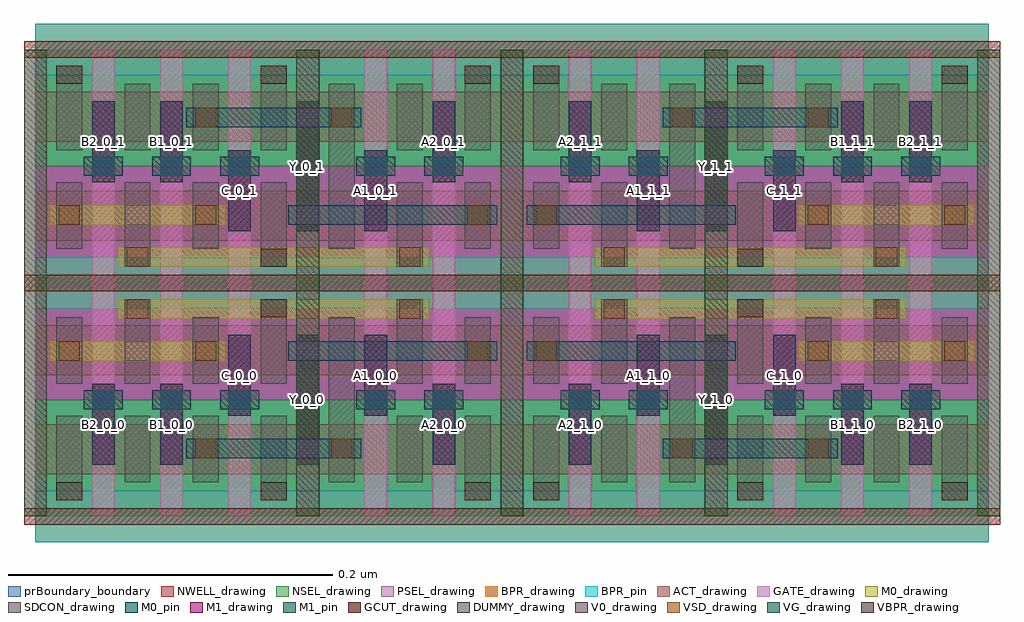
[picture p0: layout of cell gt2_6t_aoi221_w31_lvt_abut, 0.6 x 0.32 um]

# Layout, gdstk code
from math import pi, radians
import gdstk
lib = gdstk.Library(unit=1e-6, precision=5e-10)
def R(c, l, rs):  # rectangles x0, y0, x1, y1
    for r in rs: c.add(gdstk.rectangle(r[:2], r[2:], *l))
def A(c, l, x, y, w, h, nx, ny, dx, dy):  # array of equal rectangles
    R(c, l, [(x+i*dx, y+j*dy, x+i*dx+w, y+j*dy+h) for i in range(nx) for j in range(ny)])
NWELL_drawing = (1, 0)
ACT_drawing = (2, 0)
GATE_drawing = (3, 0)
DUMMY_drawing = (4, 0)
GCUT_drawing = (5, 0)
NSEL_drawing = (6, 0)
PSEL_drawing = (7, 0)
BPR_drawing = (8, 0)
BPR_pin = (8, 251)
VBPR_drawing = (9, 0)
SDCON_drawing = (10, 0)
VSD_drawing = (11, 0)
VG_drawing = (12, 0)
M0_drawing = (20, 0)
M0_pin = (20, 251)
V0_drawing = (22, 0)
M1_drawing = (25, 0)
M1_pin = (25, 251)
prBoundary_boundary = (235, 250)

gt2_6t_aoi221_w31_lvt = lib.new_cell('gt2_6t_aoi221_w31_lvt')
R(gt2_6t_aoi221_w31_lvt, NWELL_drawing, [(0,0.072,0.294,0.144)])
R(gt2_6t_aoi221_w31_lvt, ACT_drawing, [(0,0.026,0.294,0.057), (0,0.087,0.294,0.118)])
A(gt2_6t_aoi221_w31_lvt, GATE_drawing, -0.007, 0, 0.014, 0.144, 8, 1, 0.042, 0)
R(gt2_6t_aoi221_w31_lvt, DUMMY_drawing, [(-0.007,0,0.007,0.072), (0.161,0,0.175,0.072), (0.287,0,0.301,0.072), (-0.007,0.072,0.007,0.144), (0.161,0.072,0.175,0.144), (0.287,0.072,0.301,0.144)])
R(gt2_6t_aoi221_w31_lvt, GCUT_drawing, [(-0.007,-0.005,0.301,0.005), (-0.007,0.139,0.301,0.149)])
R(gt2_6t_aoi221_w31_lvt, NSEL_drawing, [(0,0,0.294,0.072)])
R(gt2_6t_aoi221_w31_lvt, PSEL_drawing, [(0,0.072,0.294,0.144)])
R(gt2_6t_aoi221_w31_lvt, BPR_drawing, [(0,-0.016,0.294,0.016), (0,0.128,0.294,0.16)])
R(gt2_6t_aoi221_w31_lvt, BPR_pin, [(0,-0.016,0.294,0.016), (0,0.128,0.294,0.16)])
A(gt2_6t_aoi221_w31_lvt, VBPR_drawing, 0.013, 0.01, 0.016, 0.011, 3, 1, 0.126, 0)
R(gt2_6t_aoi221_w31_lvt, VBPR_drawing, [(0.139,0.123,0.155,0.134)])
A(gt2_6t_aoi221_w31_lvt, SDCON_drawing, 0.013, 0.01, 0.016, 0.052, 3, 1, 0.126, 0)
A(gt2_6t_aoi221_w31_lvt, SDCON_drawing, 0.055, 0.082, 0.016, 0.052, 3, 1, 0.084, 0)
R(gt2_6t_aoi221_w31_lvt, SDCON_drawing, [(0.055,0.021,0.071,0.062), (0.097,0.021,0.113,0.062), (0.181,0.021,0.197,0.123), (0.223,0.021,0.239,0.062), (0.013,0.082,0.029,0.123), (0.097,0.082,0.113,0.123), (0.265,0.082,0.281,0.123)])
R(gt2_6t_aoi221_w31_lvt, VSD_drawing, [(0.0985,0.036,0.1115,0.048), (0.1825,0.036,0.1955,0.048), (0.0145,0.096,0.0275,0.108), (0.0985,0.096,0.1115,0.108), (0.2665,0.096,0.2795,0.108), (0.0565,0.122,0.0695,0.134), (0.2245,0.122,0.2375,0.134)])
A(gt2_6t_aoi221_w31_lvt, VG_drawing, 0.035, 0.066, 0.014, 0.012, 3, 1, 0.042, 0)
R(gt2_6t_aoi221_w31_lvt, VG_drawing, [(0.203,0.066,0.217,0.078), (0.245,0.066,0.259,0.078)])
R(gt2_6t_aoi221_w31_lvt, M0_drawing, [(0.093,0.036,0.117,0.048), (0.093,0.036,0.201,0.048), (0.156,0.036,0.18,0.048), (0.177,0.036,0.201,0.048), (0.03,0.066,0.054,0.078), (0.03,0.066,0.054,0.078), (0.072,0.066,0.096,0.078), (0.072,0.066,0.096,0.078), (0.114,0.066,0.138,0.078), (0.114,0.066,0.138,0.078), (0.198,0.066,0.222,0.078), (0.198,0.066,0.222,0.078), (0.24,0.066,0.264,0.078), (0.24,0.066,0.264,0.078), (0.009,0.096,0.033,0.108), (0.009,0.096,0.117,0.108), (0.093,0.096,0.117,0.108), (0.156,0.096,0.18,0.108), (0.156,0.096,0.285,0.108), (0.261,0.096,0.285,0.108), (0.051,0.122,0.075,0.134), (0.051,0.122,0.243,0.134), (0.219,0.122,0.243,0.134)])
R(gt2_6t_aoi221_w31_lvt, M0_pin, [(0.093,0.036,0.117,0.048), (0.093,0.036,0.201,0.048), (0.156,0.036,0.18,0.048), (0.177,0.036,0.201,0.048), (0.03,0.066,0.054,0.078), (0.03,0.066,0.054,0.078), (0.072,0.066,0.096,0.078), (0.072,0.066,0.096,0.078), (0.114,0.066,0.138,0.078), (0.114,0.066,0.138,0.078), (0.198,0.066,0.222,0.078), (0.198,0.066,0.222,0.078), (0.24,0.066,0.264,0.078), (0.24,0.066,0.264,0.078), (0.156,0.096,0.18,0.108), (0.156,0.096,0.285,0.108), (0.261,0.096,0.285,0.108)])
A(gt2_6t_aoi221_w31_lvt, V0_drawing, 0.035, 0.066, 0.014, 0.012, 3, 1, 0.042, 0)
R(gt2_6t_aoi221_w31_lvt, V0_drawing, [(0.161,0.036,0.175,0.048), (0.203,0.066,0.217,0.078), (0.245,0.066,0.259,0.078), (0.161,0.096,0.175,0.108)])
A(gt2_6t_aoi221_w31_lvt, M1_drawing, 0.035, 0.062, 0.014, 0.02, 3, 1, 0.042, 0)
R(gt2_6t_aoi221_w31_lvt, M1_drawing, [(0.035,0.032,0.049,0.082), (0.077,0.032,0.091,0.082), (0.161,0.032,0.175,0.052), (0.161,0.032,0.175,0.112), (0.245,0.032,0.259,0.082), (0.119,0.062,0.133,0.112), (0.203,0.062,0.217,0.082), (0.203,0.062,0.217,0.112), (0.245,0.062,0.259,0.082), (0.161,0.092,0.175,0.112)])
A(gt2_6t_aoi221_w31_lvt, M1_pin, 0.035, 0.062, 0.014, 0.02, 3, 1, 0.042, 0)
R(gt2_6t_aoi221_w31_lvt, M1_pin, [(0.035,0.032,0.049,0.082), (0.077,0.032,0.091,0.082), (0.161,0.032,0.175,0.052), (0.161,0.032,0.175,0.112), (0.245,0.032,0.259,0.082), (0.119,0.062,0.133,0.112), (0.203,0.062,0.217,0.082), (0.203,0.062,0.217,0.112), (0.245,0.062,0.259,0.082), (0.161,0.092,0.175,0.112)])
R(gt2_6t_aoi221_w31_lvt, prBoundary_boundary, [(0,0,0.294,0.144)])
gt2_6t_aoi221_w31_lvt.add(gdstk.Label('vss', (0.147,0), layer=8, texttype=251))
gt2_6t_aoi221_w31_lvt.add(gdstk.Label('vdd', (0.147,0.144), layer=8, texttype=251))
gt2_6t_aoi221_w31_lvt.add(gdstk.Label('Y', (0.105,0.042), layer=20, texttype=251))
gt2_6t_aoi221_w31_lvt.add(gdstk.Label('Y', (0.189,0.042), layer=20, texttype=251))
gt2_6t_aoi221_w31_lvt.add(gdstk.Label('B2', (0.042,0.072), layer=20, texttype=251))
gt2_6t_aoi221_w31_lvt.add(gdstk.Label('B1', (0.084,0.072), layer=20, texttype=251))
gt2_6t_aoi221_w31_lvt.add(gdstk.Label('C', (0.126,0.072), layer=20, texttype=251))
gt2_6t_aoi221_w31_lvt.add(gdstk.Label('A1', (0.21,0.072), layer=20, texttype=251))
gt2_6t_aoi221_w31_lvt.add(gdstk.Label('A2', (0.252,0.072), layer=20, texttype=251))
gt2_6t_aoi221_w31_lvt.add(gdstk.Label('Y', (0.273,0.102), layer=20, texttype=251))
gt2_6t_aoi221_w31_lvt.add(gdstk.Label('Y', (0.147,0.042), layer=20, texttype=251))
gt2_6t_aoi221_w31_lvt.add(gdstk.Label('Y', (0.168,0.042), layer=20, texttype=251))
gt2_6t_aoi221_w31_lvt.add(gdstk.Label('B2', (0.042,0.072), layer=20, texttype=251))
gt2_6t_aoi221_w31_lvt.add(gdstk.Label('B1', (0.084,0.072), layer=20, texttype=251))
gt2_6t_aoi221_w31_lvt.add(gdstk.Label('C', (0.126,0.072), layer=20, texttype=251))
gt2_6t_aoi221_w31_lvt.add(gdstk.Label('A1', (0.21,0.072), layer=20, texttype=251))
gt2_6t_aoi221_w31_lvt.add(gdstk.Label('A2', (0.252,0.072), layer=20, texttype=251))
gt2_6t_aoi221_w31_lvt.add(gdstk.Label('Y', (0.2205,0.102), layer=20, texttype=251))
gt2_6t_aoi221_w31_lvt.add(gdstk.Label('Y', (0.168,0.102), layer=20, texttype=251))
gt2_6t_aoi221_w31_lvt.add(gdstk.Label('Y', (0.168,0.042), layer=25, texttype=251))
gt2_6t_aoi221_w31_lvt.add(gdstk.Label('B2', (0.042,0.072), layer=25, texttype=251))
gt2_6t_aoi221_w31_lvt.add(gdstk.Label('B1', (0.084,0.072), layer=25, texttype=251))
gt2_6t_aoi221_w31_lvt.add(gdstk.Label('C', (0.126,0.072), layer=25, texttype=251))
gt2_6t_aoi221_w31_lvt.add(gdstk.Label('A1', (0.21,0.072), layer=25, texttype=251))
gt2_6t_aoi221_w31_lvt.add(gdstk.Label('A2', (0.252,0.072), layer=25, texttype=251))
gt2_6t_aoi221_w31_lvt.add(gdstk.Label('Y', (0.168,0.102), layer=25, texttype=251))
gt2_6t_aoi221_w31_lvt.add(gdstk.Label('B2', (0.042,0.057), layer=25, texttype=251))
gt2_6t_aoi221_w31_lvt.add(gdstk.Label('B1', (0.084,0.057), layer=25, texttype=251))
gt2_6t_aoi221_w31_lvt.add(gdstk.Label('Y', (0.168,0.072), layer=25, texttype=251))
gt2_6t_aoi221_w31_lvt.add(gdstk.Label('A2', (0.252,0.057), layer=25, texttype=251))
gt2_6t_aoi221_w31_lvt.add(gdstk.Label('C', (0.126,0.087), layer=25, texttype=251))
gt2_6t_aoi221_w31_lvt.add(gdstk.Label('A1', (0.21,0.087), layer=25, texttype=251))

gt2_6t_aoi221_w31_lvt_ab = lib.new_cell('gt2_6t_aoi221_w31_lvt_abut')
gt2_6t_aoi221_w31_lvt_ab.add(gdstk.Reference(gt2_6t_aoi221_w31_lvt, (0,0)))
gt2_6t_aoi221_w31_lvt_ab.add(gdstk.Reference(gt2_6t_aoi221_w31_lvt, (0.588,0), rotation=pi, x_reflection=True))
gt2_6t_aoi221_w31_lvt_ab.add(gdstk.Reference(gt2_6t_aoi221_w31_lvt, (0,0.288), x_reflection=True))
gt2_6t_aoi221_w31_lvt_ab.add(gdstk.Reference(gt2_6t_aoi221_w31_lvt, (0.588,0.288), rotation=pi))
gt2_6t_aoi221_w31_lvt_ab.add(gdstk.Label('A1_0_0', (0.21,0.087), layer=25, texttype=251))
gt2_6t_aoi221_w31_lvt_ab.add(gdstk.Label('A2_0_0', (0.252,0.057), layer=25, texttype=251))
gt2_6t_aoi221_w31_lvt_ab.add(gdstk.Label('B1_0_0', (0.084,0.057), layer=25, texttype=251))
gt2_6t_aoi221_w31_lvt_ab.add(gdstk.Label('B2_0_0', (0.042,0.057), layer=25, texttype=251))
gt2_6t_aoi221_w31_lvt_ab.add(gdstk.Label('C_0_0', (0.126,0.087), layer=25, texttype=251))
gt2_6t_aoi221_w31_lvt_ab.add(gdstk.Label('Y_0_0', (0.168,0.072), layer=25, texttype=251))
gt2_6t_aoi221_w31_lvt_ab.add(gdstk.Label('A1_1_0', (0.378,0.087), layer=25, texttype=251))
gt2_6t_aoi221_w31_lvt_ab.add(gdstk.Label('A2_1_0', (0.336,0.057), layer=25, texttype=251))
gt2_6t_aoi221_w31_lvt_ab.add(gdstk.Label('B1_1_0', (0.504,0.057), layer=25, texttype=251))
gt2_6t_aoi221_w31_lvt_ab.add(gdstk.Label('B2_1_0', (0.546,0.057), layer=25, texttype=251))
gt2_6t_aoi221_w31_lvt_ab.add(gdstk.Label('C_1_0', (0.462,0.087), layer=25, texttype=251))
gt2_6t_aoi221_w31_lvt_ab.add(gdstk.Label('Y_1_0', (0.42,0.072), layer=25, texttype=251))
gt2_6t_aoi221_w31_lvt_ab.add(gdstk.Label('A1_0_1', (0.21,0.201), layer=25, texttype=251))
gt2_6t_aoi221_w31_lvt_ab.add(gdstk.Label('A2_0_1', (0.252,0.231), layer=25, texttype=251))
gt2_6t_aoi221_w31_lvt_ab.add(gdstk.Label('B1_0_1', (0.084,0.231), layer=25, texttype=251))
gt2_6t_aoi221_w31_lvt_ab.add(gdstk.Label('B2_0_1', (0.042,0.231), layer=25, texttype=251))
gt2_6t_aoi221_w31_lvt_ab.add(gdstk.Label('C_0_1', (0.126,0.201), layer=25, texttype=251))
gt2_6t_aoi221_w31_lvt_ab.add(gdstk.Label('Y_0_1', (0.168,0.216), layer=25, texttype=251))
gt2_6t_aoi221_w31_lvt_ab.add(gdstk.Label('A1_1_1', (0.378,0.201), layer=25, texttype=251))
gt2_6t_aoi221_w31_lvt_ab.add(gdstk.Label('A2_1_1', (0.336,0.231), layer=25, texttype=251))
gt2_6t_aoi221_w31_lvt_ab.add(gdstk.Label('B1_1_1', (0.504,0.231), layer=25, texttype=251))
gt2_6t_aoi221_w31_lvt_ab.add(gdstk.Label('B2_1_1', (0.546,0.231), layer=25, texttype=251))
gt2_6t_aoi221_w31_lvt_ab.add(gdstk.Label('C_1_1', (0.462,0.201), layer=25, texttype=251))
gt2_6t_aoi221_w31_lvt_ab.add(gdstk.Label('Y_1_1', (0.42,0.216), layer=25, texttype=251))

lib.write_gds('gt2_6t_aoi221_w31_lvt_abut.gds')
